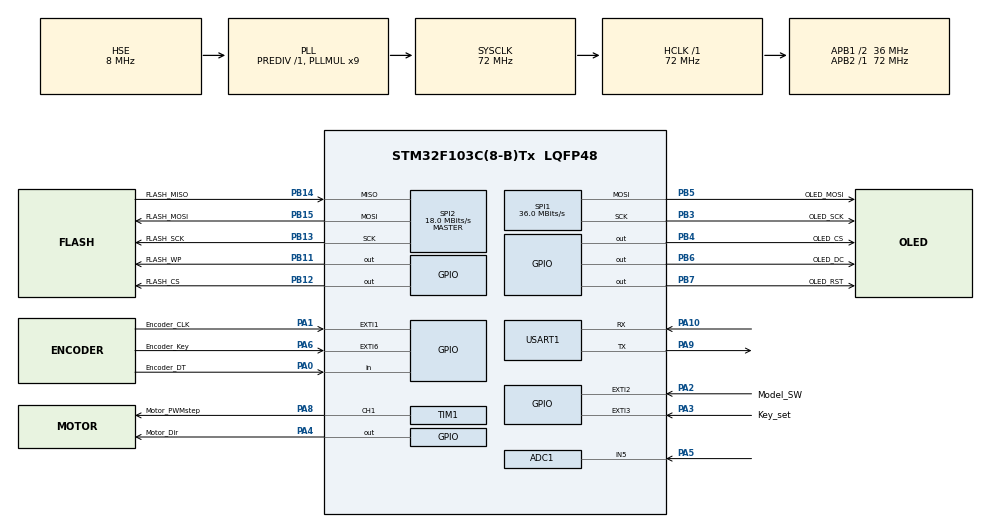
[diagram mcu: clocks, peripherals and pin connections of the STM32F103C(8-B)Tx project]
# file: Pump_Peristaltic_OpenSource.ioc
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ADC1.Channel-0\#ChannelRegularConversion=ADC_CHANNEL_5
ADC1.ContinuousConvMode=ENABLE
ADC1.ExternalTrigConv=ADC_SOFTWARE_START
ADC1.NbrOfConversion=1
ADC1.NbrOfConversionFlag=1
ADC1.Rank-0\#ChannelRegularConversion=1
ADC1.SamplingTime-0\#ChannelRegularConversion=ADC_SAMPLETIME_239CYCLES_5
ADC1.master=1
Dma.ADC1.0.Direction=DMA_PERIPH_TO_MEMORY
Dma.ADC1.0.Instance=DMA1_Channel1
Dma.ADC1.0.MemDataAlignment=DMA_MDATAALIGN_HALFWORD
Dma.ADC1.0.MemInc=DMA_MINC_ENABLE
Dma.ADC1.0.Mode=DMA_CIRCULAR
Dma.ADC1.0.PeriphDataAlignment=DMA_PDATAALIGN_HALFWORD
Dma.ADC1.0.PeriphInc=DMA_PINC_DISABLE
Dma.ADC1.0.Priority=DMA_PRIORITY_LOW
Dma.Request0=ADC1
Dma.Request1=USART1_RX
Dma.USART1_RX.1.Direction=DMA_PERIPH_TO_MEMORY
Dma.USART1_RX.1.Instance=DMA1_Channel5
Dma.USART1_RX.1.MemDataAlignment=DMA_MDATAALIGN_BYTE
Dma.USART1_RX.1.MemInc=DMA_MINC_ENABLE
Dma.USART1_RX.1.Mode=DMA_CIRCULAR
Dma.USART1_RX.1.PeriphDataAlignment=DMA_PDATAALIGN_BYTE
Dma.USART1_RX.1.PeriphInc=DMA_PINC_DISABLE
Dma.USART1_RX.1.Priority=DMA_PRIORITY_MEDIUM
Mcu.Family=STM32F1
Mcu.Name=STM32F103C(8-B)Tx
Mcu.Package=LQFP48
NVIC.DMA1_Channel1_IRQn=true\:0\:0\:false\:false\:true\:false\:true\:true
NVIC.DMA1_Channel5_IRQn=true\:0\:0\:false\:false\:true\:false\:true\:true
NVIC.EXTI1_IRQn=true\:2\:0\:true\:false\:true\:true\:true\:true
NVIC.EXTI2_IRQn=true\:2\:0\:true\:false\:true\:true\:true\:true
NVIC.EXTI3_IRQn=true\:2\:0\:true\:false\:true\:true\:true\:true
NVIC.EXTI9_5_IRQn=true\:2\:0\:true\:false\:true\:true\:true\:true
NVIC.PriorityGroup=NVIC_PRIORITYGROUP_4
NVIC.TIM2_IRQn=true\:3\:0\:true\:false\:true\:true\:true\:true
NVIC.TIM3_IRQn=true\:1\:0\:true\:false\:true\:true\:true\:true
NVIC.USART1_IRQn=true\:0\:0\:true\:false\:true\:true\:true\:true
PA0-WKUP.GPIO_Label=Encoder_DT
PA0-WKUP.GPIO_PuPd=GPIO_PULLUP
PA0-WKUP.Signal=GPIO_Input
PA1.GPIO_Label=Encoder_CLK
PA1.GPIO_ModeDefaultEXTI=GPIO_MODE_IT_RISING_FALLING
PA1.GPIO_PuPd=GPIO_PULLUP
PA1.Signal=GPXTI1
PA10.Mode=Asynchronous
PA10.Signal=USART1_RX
PA13.Mode=Serial_Wire
PA13.Signal=SYS_JTMS-SWDIO
PA14.Mode=Serial_Wire
PA14.Signal=SYS_JTCK-SWCLK
PA2.GPIO_Label=Model_SW
PA2.GPIO_ModeDefaultEXTI=GPIO_MODE_IT_FALLING
PA2.GPIO_PuPd=GPIO_PULLUP
PA2.Signal=GPXTI2
PA3.GPIO_Label=Key_set
PA3.GPIO_ModeDefaultEXTI=GPIO_MODE_IT_FALLING
PA3.GPIO_PuPd=GPIO_PULLUP
PA3.Signal=GPXTI3
PA4.GPIO_Label=Motor_Dir
PA4.GPIO_PuPd=GPIO_PULLUP
PA4.GPIO_Speed=GPIO_SPEED_FREQ_MEDIUM
PA4.Signal=GPIO_Output
PA5.Signal=ADCx_IN5
PA6.GPIO_Label=Encoder_Key
PA6.GPIO_ModeDefaultEXTI=GPIO_MODE_IT_FALLING
PA6.GPIO_PuPd=GPIO_PULLUP
PA6.Signal=GPXTI6
PA8.GPIO_Label=Motor_PWMstep
PA8.GPIO_Speed=GPIO_SPEED_FREQ_HIGH
PA8.Signal=S_TIM1_CH1
PA9.Mode=Asynchronous
PA9.Signal=USART1_TX
PB11.GPIO_Label=FLASH_WP
PB11.GPIO_PuPd=GPIO_PULLUP
PB11.Signal=GPIO_Output
PB12.GPIO_Label=FLASH_CS
PB12.GPIO_PuPd=GPIO_PULLUP
PB12.GPIO_Speed=GPIO_SPEED_FREQ_HIGH
PB12.Signal=GPIO_Output
PB13.GPIO_Label=FLASH_SCK
PB13.Mode=Full_Duplex_Master
PB13.Signal=SPI2_SCK
PB14.GPIO_Label=FLASH_MISO
PB14.Mode=Full_Duplex_Master
PB14.Signal=SPI2_MISO
PB15.GPIO_Label=FLASH_MOSI
PB15.Mode=Full_Duplex_Master
PB15.Signal=SPI2_MOSI
PB3.GPIO_Label=OLED_SCK
PB3.Mode=TX_Only_Simplex_Unidirect_Master
PB3.Signal=SPI1_SCK
PB4.GPIO_Label=OLED_CS
PB4.GPIO_Speed=GPIO_SPEED_FREQ_HIGH
PB4.Signal=GPIO_Output
PB5.GPIO_Label=OLED_MOSI
PB5.Mode=TX_Only_Simplex_Unidirect_Master
PB5.Signal=SPI1_MOSI
PB6.GPIO_Label=OLED_DC
PB6.Signal=GPIO_Output
PB7.GPIO_Label=OLED_RST
PB7.Signal=GPIO_Output
PD0-OSC_IN.Mode=HSE-External-Oscillator
PD0-OSC_IN.Signal=RCC_OSC_IN
PD1-OSC_OUT.Mode=HSE-External-Oscillator
PD1-OSC_OUT.Signal=RCC_OSC_OUT
ProjectManager.HeapSize=0x200
ProjectManager.StackSize=0x400
ProjectManager.TargetToolchain=MDK-ARM V5
RCC.ADCPresc=RCC_ADCPCLK2_DIV6
RCC.AHBFreq_Value=72000000
RCC.APB1CLKDivider=RCC_HCLK_DIV2
RCC.APB1Freq_Value=36000000
RCC.APB1TimFreq_Value=72000000
RCC.APB2Freq_Value=72000000
RCC.APB2TimFreq_Value=72000000
RCC.HCLKFreq_Value=72000000
RCC.PLLMUL=RCC_PLL_MUL9
RCC.PLLSourceVirtual=RCC_PLLSOURCE_HSE
RCC.SYSCLKFreq_VALUE=72000000
RCC.SYSCLKSource=RCC_SYSCLKSOURCE_PLLCLK
RCC.USBFreq_Value=72000000
SH.ADCx_IN5.0=ADC1_IN5,IN5
SH.S_TIM1_CH1.0=TIM1_CH1,PWM Generation1 CH1
SPI1.BaudRatePrescaler=SPI_BAUDRATEPRESCALER_2
SPI1.CalculateBaudRate=36.0 MBits/s
SPI1.Direction=SPI_DIRECTION_2LINES
SPI1.Mode=SPI_MODE_MASTER
SPI1.VirtualType=VM_MASTER
SPI2.CalculateBaudRate=18.0 MBits/s
SPI2.Direction=SPI_DIRECTION_2LINES
SPI2.Mode=SPI_MODE_MASTER
SPI2.VirtualType=VM_MASTER
TIM1.AutoReloadPreload=TIM_AUTORELOAD_PRELOAD_ENABLE
TIM1.Channel-PWM\ Generation1\ CH1=TIM_CHANNEL_1
TIM1.Period=7199
TIM1.Prescaler=9
TIM1.Pulse-PWM\ Generation1\ CH1=3600
TIM2.Period=9999
TIM2.Prescaler=7199
TIM3.AutoReloadPreload=TIM_AUTORELOAD_PRELOAD_ENABLE
TIM3.Period=999
TIM3.Prescaler=7199
USART1.VirtualMode=VM_ASYNC
VP_TIM1_VS_ClockSourceINT.Mode=Internal
VP_TIM2_VS_ClockSourceINT.Mode=Internal
VP_TIM3_VS_ClockSourceINT.Mode=Internal
board=custom

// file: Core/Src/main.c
/* USER CODE BEGIN Header */
/**
  ******************************************************************************
  * @file           : main.c
  * @brief          : Main program body
  ******************************************************************************
  * @attention
  *
  * Copyright (c) 2024 STMicroelectronics.
  * All rights reserved.
  *
  * This software is licensed under terms that can be found in the LICENSE file
  * in the root directory of this software component.
  * If no LICENSE file comes with this software, it is provided AS-IS.
  *
  ******************************************************************************
  */
/* USER CODE END Header */
#include "main.h"
#include "adc.h"
#include "dma.h"
#include "spi.h"
#include "tim.h"
#include "usart.h"
#include "gpio.h"

/* USER CODE BEGIN Includes */
#include "motor.h"
#include "OLED_SPI.h"
#include "Flash_W25Q.h"
#include "Key.h"
#include "menu.h"

#define FLASH_WRITE_OFF 80
/* USER CODE END Includes */

/* USER CODE BEGIN PV */
unsigned int Speed = 0;

uint16_t AdcBuf[ADC_BUF_LENGTH] = {0};
uint8_t gram_buff[1024] = {0};
uint8_t Rxbuff_test[4] = {0};

/* USER CODE END PV */

void SystemClock_Config(void);
/* USER CODE BEGIN PFP */
uint32_t AdcBuf_Average(uint16_t* AdcBuf);
/* USER CODE END PFP */

int main(void)
{

  /* MCU Configuration--------------------------------------------------------*/

  /* Reset of all peripherals, Initializes the Flash interface and the Systick. */
  HAL_Init();

  /* Configure the system clock */
  SystemClock_Config();

  /* Initialize all configured peripherals */
  MX_GPIO_Init();
  MX_DMA_Init();
  MX_TIM3_Init();
  MX_ADC1_Init();
  MX_TIM2_Init();
  MX_TIM1_Init();
  MX_USART1_UART_Init();
  MX_SPI1_Init();
  MX_SPI2_Init();
  /* USER CODE BEGIN 2 */
  OLED_Init();
  OLED_Clear();

	__HAL_TIM_CLEAR_IT(&htim3, TIM_IT_UPDATE);
	__HAL_TIM_CLEAR_IT(&htim2, TIM_IT_UPDATE);

	HAL_ADCEx_Calibration_Start(&hadc1);		//启动adc1的auto-correction
	HAL_TIM_Base_Start_IT(&htim2);				//启动定时器TIM2，开始每秒采集一次ADC信号
	HAL_TIM_PWM_Start(&htim1, TIM_CHANNEL_1);			//启用TIM1的CH1通道来输出控制步进电机的50%占空比的PWM信号
	HAL_ADC_Start_DMA(&hadc1,(uint32_t*)AdcBuf, ADC_BUF_LENGTH);	//启用adc1的DMA传输

  uint8_t page = 0;
	uint8_t colume = 0;
  printf("id = %x\n",Flash_Read_ID());
  printf("SR = %x\n",Flash_Read_SR());
  printf("\n");

	OLED_ShowNum(1,4,AdcBuf_Average(AdcBuf),4,16);

  /* USER CODE END 2 */

  /* Infinite loop */
  /* USER CODE BEGIN WHILE */

 //Flash_Write_BMParray(BMP_MotorDirR_Adr, BMP_MotorDirR_Len, 128, 8);

  while (1)
  {
    uint8_t pBuff_test = 0;
    HAL_UART_Receive_DMA(&huart1, Rxbuff_test, sizeof(Rxbuff_test));
    Flash_Read(&pBuff_test, 0x0000ffff, 1);
    printf("%x\n", pBuff_test);

    MENU_RunMainMenu();

    for(uint16_t show_i = 0; show_i < 40; show_i++){
      Flash_Read(gram_buff, 0x000000FF + 1024 * show_i,1024);
      OLED_DrawBMP(0, 0,128,8,gram_buff);
      HAL_Delay(10);
    }
    //MENU_RunMainMenu();
    /* USER CODE END WHILE */

  }
}

void SystemClock_Config(void)
{
  RCC_OscInitTypeDef RCC_OscInitStruct = {0};
  RCC_ClkInitTypeDef RCC_ClkInitStruct = {0};
  RCC_PeriphCLKInitTypeDef PeriphClkInit = {0};

  /** Initializes the RCC Oscillators according to the specified parameters
  * in the RCC_OscInitTypeDef structure.
  */
  RCC_OscInitStruct.OscillatorType = RCC_OSCILLATORTYPE_HSE;
  RCC_OscInitStruct.HSEState = RCC_HSE_ON;
  RCC_OscInitStruct.HSEPredivValue = RCC_HSE_PREDIV_DIV1;
  RCC_OscInitStruct.HSIState = RCC_HSI_ON;
  RCC_OscInitStruct.PLL.PLLState = RCC_PLL_ON;
  RCC_OscInitStruct.PLL.PLLSource = RCC_PLLSOURCE_HSE;
  RCC_OscInitStruct.PLL.PLLMUL = RCC_PLL_MUL9;
  if (HAL_RCC_OscConfig(&RCC_OscInitStruct) != HAL_OK)
  {
    Error_Handler();
  }

  /** Initializes the CPU, AHB and APB buses clocks
  */
  RCC_ClkInitStruct.ClockType = RCC_CLOCKTYPE_HCLK|RCC_CLOCKTYPE_SYSCLK
                              |RCC_CLOCKTYPE_PCLK1|RCC_CLOCKTYPE_PCLK2;
  RCC_ClkInitStruct.SYSCLKSource = RCC_SYSCLKSOURCE_PLLCLK;
  RCC_ClkInitStruct.AHBCLKDivider = RCC_SYSCLK_DIV1;
  RCC_ClkInitStruct.APB1CLKDivider = RCC_HCLK_DIV2;
  RCC_ClkInitStruct.APB2CLKDivider = RCC_HCLK_DIV1;

  if (HAL_RCC_ClockConfig(&RCC_ClkInitStruct, FLASH_LATENCY_2) != HAL_OK)
  {
    Error_Handler();
  }
  PeriphClkInit.PeriphClockSelection = RCC_PERIPHCLK_ADC;
  PeriphClkInit.AdcClockSelection = RCC_ADCPCLK2_DIV6;
  if (HAL_RCCEx_PeriphCLKConfig(&PeriphClkInit) != HAL_OK)
  {
    Error_Handler();
  }
}

/* USER CODE BEGIN 4 */

/**
  * @brief  TIM定时器中断回调函�???????;
  * @param  htim：中断函数发送过来的定时器地�???????;
  * @retval none;
  */
void HAL_TIM_PeriodElapsedCallback(TIM_HandleTypeDef *htim)
{
	/**********控制ADC采样的TIM2发生中断�???????**********/
  if(htim == &htim2){
		__HAL_TIM_CLEAR_IT(&htim2, TIM_IT_UPDATE);
		HAL_ADC_Start_DMA(&hadc1,(uint32_t *)AdcBuf, ADC_BUF_LENGTH);

		//OLED_ShowNum(1,4,AdcBuf_Average(AdcBuf),4,16);

  /**********控制按键防抖的TIM3发生中断�???????**********/
	}else if(htim == &htim3){

		__HAL_TIM_CLEAR_IT(&htim3, TIM_IT_UPDATE);
		HAL_TIM_Base_Stop_IT(&htim3);
		__HAL_TIM_SET_COUNTER(&htim3, 0);
    Key_Keep();

  }
}

/**
  * @brief  ADC采样计算平均值函数，求出�???????准确的采样电流�??;
  * @param  Adc_Buf：ADC通过DMA传输记录的数组�??;
  * @retval sample_current�??????? 计算得出的采样电流�??;
  */
uint32_t AdcBuf_Average(uint16_t* AdcBuf)
{
  uint32_t sum = 0;
  double average = 0;
  uint16_t sample_current = 0;
    // 计算ADC数组元素的�?�和
    for (int i = 0; i < ADC_BUF_LENGTH; ++i) {
        sum += AdcBuf[i];
    }
    // 计算平均�???????
    average = sum / ADC_BUF_LENGTH;
    sample_current = (average * 165) / 205;
    //average = ((sum / ADC_BUF_LENGTH) / 4095) * 165; //165 = 3.3V / 20mR
    //计算采样电流�???????
    //sample_current = (uint32_t)average;
    return sample_current;
}

void HAL_UART_RxCpltCallback(UART_HandleTypeDef *huart)
{
  if(huart -> Instance == USART1){
    uint32_t address = (Rxbuff_test[0] << 16) | (Rxbuff_test[1] << 8) | Rxbuff_test[2];
    Flash_Write(Rxbuff_test + 3, address, 1);
  }
}
/* USER CODE END 4 */

void Error_Handler(void)
{
  __disable_irq();
  while (1)
  {
  }
}
